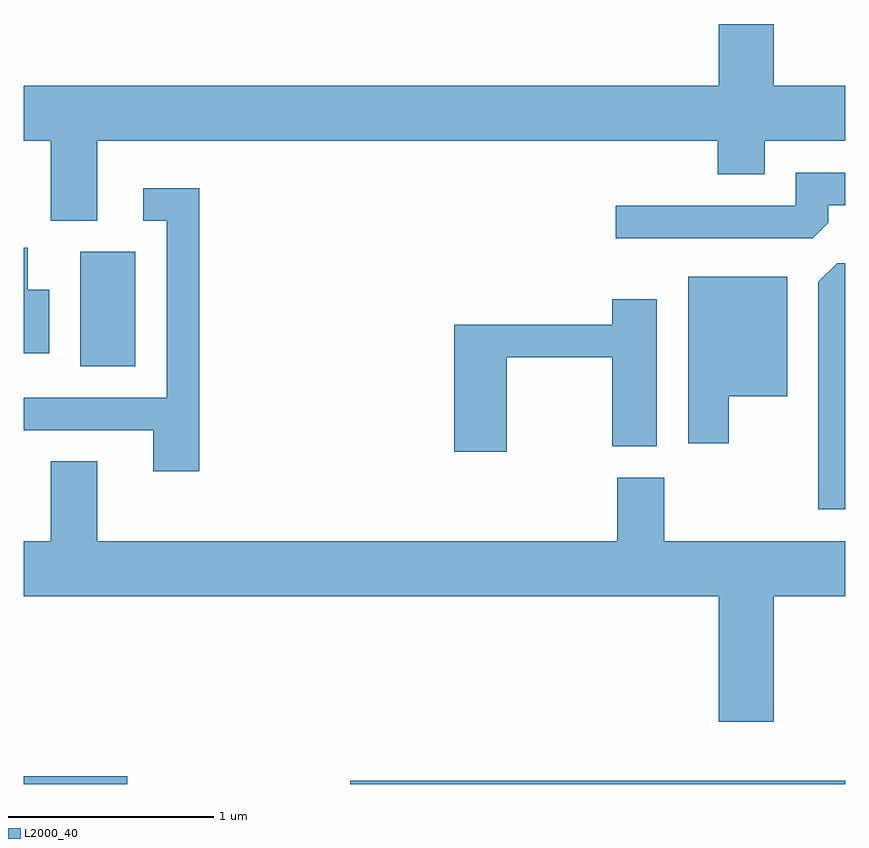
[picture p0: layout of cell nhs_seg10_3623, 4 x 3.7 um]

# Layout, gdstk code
import gdstk
lib = gdstk.Library(unit=1e-6, precision=1e-09)
def R(c, l, rs):  # rectangles x0, y0, x1, y1
    for r in rs: c.add(gdstk.rectangle(r[:2], r[2:], *l))
def P(c, l, *ps):  # polygons
    for p in ps: c.add(gdstk.Polygon(p, *l))
L2000_40 = (2000, 40)

nhs_seg10_3623 = lib.new_cell('nhs_seg10_3623')
R(nhs_seg10_3623, L2000_40, [(291.611,2148.522,292.114,2148.559), (293.201,2148.522,295.611,2148.539), (291.886,2150.556,292.154,2151.114)])
P(nhs_seg10_3623, L2000_40, [(291.969,2151.656),(294.991,2151.656),(294.991,2151.491),(295.219,2151.491),(295.219,2151.656),(295.611,2151.656),(295.611,2151.924),(295.264,2151.924),(295.264,2152.224),(294.996,2152.224),(294.996,2151.924),(291.611,2151.924),(291.611,2151.656),(291.741,2151.656),(291.741,2151.266),(291.969,2151.266)],
  [(295.529,2151.257),(295.529,2151.341),(295.611,2151.341),(295.611,2151.499),(295.371,2151.499),(295.371,2151.339),(294.493,2151.339),(294.493,2151.181),(295.454,2151.181)],
  [(292.464,2151.424),(292.193,2151.424),(292.193,2151.266),(292.306,2151.266),(292.306,2150.404),(291.611,2150.404),(291.611,2150.246),(292.241,2150.246),(292.241,2150.046),(292.464,2150.046)],
  [(291.734,2150.929),(291.629,2150.929),(291.629,2151.134),(291.611,2151.134),(291.611,2150.621),(291.734,2150.621)],
  [(295.611,2151.059),(295.572,2151.059),(295.481,2150.969),(295.481,2149.861),(295.611,2149.861)],
  [(295.044,2150.411),(295.329,2150.411),(295.329,2150.994),(294.846,2150.994),(294.846,2150.181),(295.044,2150.181)],
  [(293.964,2150.601),(294.476,2150.601),(294.476,2150.166),(294.694,2150.166),(294.694,2150.884),(294.476,2150.884),(294.476,2150.759),(293.706,2150.759),(293.706,2150.141),(293.964,2150.141)],
  [(295.264,2149.436),(295.611,2149.436),(295.611,2149.704),(294.729,2149.704),(294.729,2150.014),(294.501,2150.014),(294.501,2149.704),(291.969,2149.704),(291.969,2150.094),(291.741,2150.094),(291.741,2149.704),(291.611,2149.704),(291.611,2149.436),(294.996,2149.436),(294.996,2148.826),(295.264,2148.826)])

lib.write_gds('nhs_seg10_3623.gds')
